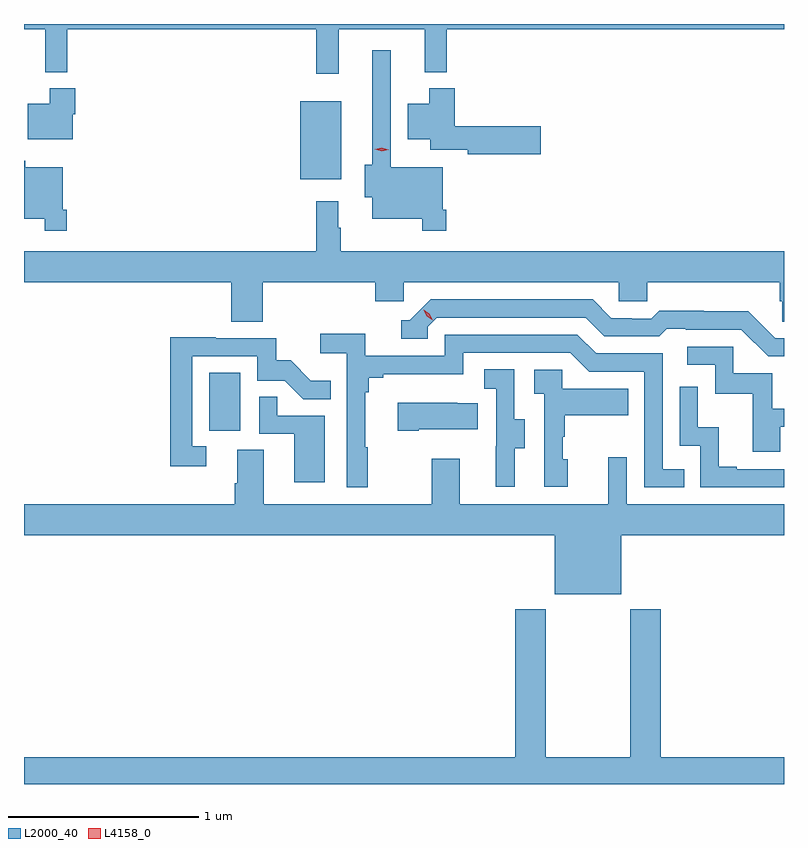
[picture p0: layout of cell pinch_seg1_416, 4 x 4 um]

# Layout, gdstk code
import gdstk
lib = gdstk.Library(unit=1e-6, precision=1e-09)
def R(c, l, rs):  # rectangles x0, y0, x1, y1
    for r in rs: c.add(gdstk.rectangle(r[:2], r[2:], *l))
def P(c, l, *ps):  # polygons
    for p in ps: c.add(gdstk.Polygon(p, *l))
L2000_40 = (2000, 40)
L4158_0 = (4158, 0)

pinch_seg1_416 = lib.new_cell('pinch_seg1_416')
R(pinch_seg1_416, L2000_40, [(934.994,534.966,935.158,535.273), (935.474,536.291,935.689,536.701)])
P(pinch_seg1_416, L2000_40, [(935.675,537.08),(936.128,537.08),(936.128,536.855),(936.245,536.855),(936.245,537.08),(938.019,537.08),(938.019,537.108),(934.019,537.108),(934.019,537.08),(934.13,537.08),(934.13,536.855),(934.247,536.855),(934.247,537.08),(935.557,537.08),(935.557,536.847),(935.675,536.847)],
  [(936.242,536.131),(936.222,536.131),(936.222,536.353),(935.949,536.353),(935.949,536.971),(935.852,536.971),(935.852,536.366),(935.813,536.366),(935.813,536.195),(935.852,536.195),(935.852,536.084),(936.114,536.084),(936.114,536.019),(936.242,536.019)],
  [(936.739,536.57),(936.287,536.57),(936.287,536.77),(936.152,536.77),(936.152,536.689),(936.038,536.689),(936.038,536.501),(936.158,536.501),(936.158,536.447),(936.354,536.447),(936.354,536.423),(936.739,536.423)],
  [(934.276,536.634),(934.289,536.634),(934.289,536.77),(934.154,536.77),(934.154,536.689),(934.04,536.689),(934.04,536.501),(934.276,536.501)],
  [(934.244,536.131),(934.224,536.131),(934.224,536.353),(934.025,536.353),(934.025,536.389),(934.019,536.389),(934.019,536.084),(934.128,536.084),(934.128,536.019),(934.244,536.019)],
  [(935.276,535.748),(935.867,535.748),(935.867,535.65),(936.018,535.65),(936.018,535.748),(937.149,535.748),(937.149,535.65),(937.299,535.65),(937.299,535.748),(937.997,535.748),(937.997,535.65),(938.011,535.65),(938.011,535.54),(938.019,535.54),(938.019,535.912),(935.686,535.912),(935.686,536.036),(935.674,536.036),(935.674,536.176),(935.557,536.176),(935.557,535.912),(934.019,535.912),(934.019,535.748),(935.111,535.748),(935.111,535.54),(935.276,535.54)],
  [(938.019,535.455),(937.974,535.455),(937.832,535.597),(937.596,535.597),(937.596,535.6),(937.363,535.6),(937.321,535.557),(937.218,535.557),(937.218,535.56),(937.111,535.56),(937.012,535.659),(936.159,535.659),(936.048,535.548),(936.005,535.548),(936.005,535.452),(936.144,535.452),(936.144,535.515),(936.192,535.563),(936.975,535.563),(937.074,535.464),(937.363,535.464),(937.402,535.503),(937.501,535.503),(937.501,535.5),(937.794,535.5),(937.935,535.359),(938.019,535.359)],
  [(935.827,534.881),(935.815,534.881),(935.815,535.169),(935.834,535.169),(935.834,535.246),(935.911,535.246),(935.911,535.265),(936.33,535.265),(936.33,535.377),(936.894,535.377),(936.993,535.278),(937.284,535.278),(937.284,534.669),(937.493,534.669),(937.493,534.765),(937.38,534.765),(937.38,535.374),(937.03,535.374),(936.931,535.473),(936.234,535.473),(936.234,535.362),(935.816,535.362),(935.816,535.478),(935.577,535.478),(935.577,535.376),(935.718,535.376),(935.718,534.669),(935.827,534.669)],
  [(934.978,534.885),(934.905,534.885),(934.905,535.359),(935.247,535.359),(935.247,535.23),(935.392,535.23),(935.49,535.132),(935.633,535.132),(935.633,535.231),(935.529,535.231),(935.422,535.338),(935.346,535.338),(935.346,535.455),(935.027,535.455),(935.027,535.46),(934.789,535.46),(934.789,534.78),(934.978,534.78)],
  [(937.999,534.987),(938.019,534.987),(938.019,535.083),(937.957,535.083),(937.957,535.269),(937.752,535.269),(937.752,535.41),(937.509,535.41),(937.509,535.314),(937.656,535.314),(937.656,535.161),(937.855,535.161),(937.855,534.858),(937.999,534.858)],
  [(936.601,534.874),(936.655,534.874),(936.655,535.029),(936.6,535.029),(936.6,535.292),(936.441,535.292),(936.441,535.189),(936.504,535.189),(936.504,534.885),(936.503,534.885),(936.503,534.672),(936.601,534.672)],
  [(936.88,534.816),(936.855,534.816),(936.855,534.935),(936.865,534.935),(936.865,535.049),(937.199,535.049),(937.199,535.189),(936.852,535.189),(936.852,535.287),(936.705,535.287),(936.705,535.163),(936.756,535.163),(936.756,534.672),(936.88,534.672)],
  [(938.019,534.765),(937.771,534.765),(937.771,534.778),(937.676,534.778),(937.676,534.986),(937.566,534.986),(937.566,535.198),(937.47,535.198),(937.47,534.888),(937.578,534.888),(937.578,534.669),(938.019,534.669)],
  [(935.602,535.047),(935.351,535.047),(935.351,535.145),(935.256,535.145),(935.256,534.951),(935.441,534.951),(935.441,534.696),(935.602,534.696)],
  [(936.097,534.974),(936.407,534.974),(936.407,535.111),(936.299,535.111),(936.299,535.114),(935.985,535.114),(935.985,534.967),(936.097,534.967)],
  [(936.812,534.107),(937.162,534.107),(937.162,534.416),(938.019,534.416),(938.019,534.58),(937.191,534.58),(937.191,534.829),(937.094,534.829),(937.094,534.58),(936.313,534.58),(936.313,534.82),(936.166,534.82),(936.166,534.58),(935.281,534.58),(935.281,534.866),(935.141,534.866),(935.141,534.692),(935.129,534.692),(935.129,534.58),(934.019,534.58),(934.019,534.416),(936.812,534.416)],
  [(938.019,533.248),(937.37,533.248),(937.37,534.028),(937.21,534.028),(937.21,533.248),(936.765,533.248),(936.765,534.028),(936.605,534.028),(936.605,533.248),(934.019,533.248),(934.019,533.108),(938.019,533.108)])
P(pinch_seg1_416, L4158_0, [(935.902,536.438),(935.866,536.448),(935.866,536.448),(935.866,536.448),(935.902,536.457),(935.938,536.447),(935.938,536.447),(935.938,536.447)],
  [(936.169,535.55),(936.138,535.57),(936.122,535.602),(936.122,535.603),(936.123,535.603),(936.153,535.583),(936.17,535.55),(936.17,535.55)])

lib.write_gds('pinch_seg1_416.gds')
